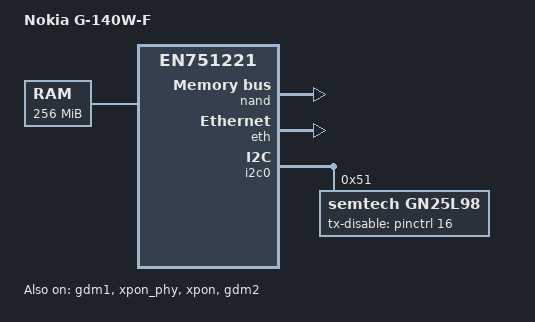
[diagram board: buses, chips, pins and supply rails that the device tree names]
// SPDX-License-Identifier: (GPL-2.0-only OR BSD-2-Clause)
/dts-v1/;

#include "en751221.dtsi"

/ {
	model = "Nokia G-140W-F";
	compatible = "nokia,g140w-f", "econet,en751221";

	memory@0 {
		device_type = "memory";
		reg = <0x00000000 0x10000000>;	/* 256 MiB */
	};

	chosen {
		stdout-path = "/serial@1fbf0000:115200";
		bootargs = "console=ttyS0,115200 loglevel=7";
		linux,usable-memory-range = <0x00020000 0x0ffe0000>;
	};
};

/*
 * dtsi tags this controller airoha,en7523-spi (en7523_spi_data has_nfi=true),
 * so the driver tries to map a non-existent NFI reg region and fails
 * (-EINVAL invalid resource). EN751221 has no NFI (SFC/NOR path), so use
 * the correct compatible -> en751221_spi_data (has_nfi=false).
 */
&spi_ctrl {
	compatible = "econet,en751221-spi";
	clocks = <&scuclk EN751221_CLK_SPI>;
	clock-names = "spi";
};

&nand {
	status = "okay";
	econet,bmt;
	econet,bbt-table-size = <250>;

	partitions {
		compatible = "fixed-partitions";
		#address-cells = <1>;
		#size-cells = <1>;

		partition@0 {
			label = "bootloader";
			reg = <0x0 0x40000>;
			read-only;
		};

		partition@40000 {
			label = "romfile";
			reg = <0x40000 0x40000>;
		};

		partition@80000 {
			label = "tclinux";
			reg = <0x80000 0x2200000>;
			econet,enable-remap;
		};

		partition@480000 {
			label = "rootfs";
			reg = <0x480000 0x1e00000>;
			linux,rootfs;
		};

		partition@2280000 {
			label = "kernel_slave";
			reg = <0x2280000 0x300000>;
		};

		partition@2580000 {
			label = "rootfs_slave";
			reg = <0x2580000 0x1f00000>;
		};

		partition@4480000 {
			label = "kernel_oflt";
			reg = <0x4480000 0x300000>;
		};

		partition@4780000 {
			label = "rootfs_oflt";
			reg = <0x4780000 0xc00000>;
		};

		partition@5380000 {
			label = "config";
			reg = <0x5380000 0x800000>;
		};

		partition@5b80000 {
			label = "log";
			reg = <0x5b80000 0xc00000>;
		};

		partition@6780000 {
			label = "extfs";
			reg = <0x6780000 0x600000>;
		};

		/*
		 * 256 KiB optical/laser calibration for the JiuZhou/GN25L98
		 * BOSA. The airoha en7570 driver reads its factory cal as 100
		 * big-endian 32-bit words; the exact offset within this
		 * partition must be confirmed from a live dump before wiring
		 * the nvmem cell (see en7526gt: magic at cell offset 0x94).
		 */
		partition@6d80000 {
			label = "bosa";
			reg = <0x6d80000 0x40000>;
		};

		partition@6dc0000 {
			label = "flag";
			reg = <0x6dc0000 0x40000>;
		};

		partition@6e00000 {
			label = "flagback";
			reg = <0x6e00000 0x40000>;
		};

		partition@6e40000 {
			label = "ri";
			reg = <0x6e40000 0x40000>;

			nvmem-layout {
				compatible = "fixed-layout";
				#address-cells = <1>;
				#size-cells = <1>;

				macaddr_ri_3e: macaddr@3e {
					compatible = "mac-base";
					reg = <0x3e 0x6>;
					#nvmem-cell-cells = <1>;
				};
			};
		};

		partition@6e80000 {
			label = "riback";
			reg = <0x6e80000 0x40000>;
		};
	};
};

&eth {
	status = "okay";
};

&gdm1 {
	status = "okay";
	mac-address = [78 17 35 c2 80 30];
};

&i2c0 {
	status = "okay";

	/*
	 * G-140W-F BOSA = Semtech GN25L98 (external-MCU mode, only the A2 page
	 * at 0x51 is exposed). Driver loads semtech/gn25l98-hwconfig.bin.
	 */
	gn25l98: optical-frontend@51 {
		compatible = "semtech,gn25l98";
		reg = <0x51>;

		tx-disable-gpios = <&pinctrl 16 GPIO_ACTIVE_HIGH>;

		#optical-frontend-cells = <0>;
	};
};

&xpon_phy {
	status = "okay";

	/*
	 * The G-140W-F JiuZhou/Semtech GN25L98 BOSA drives RX signal-detect
	 * INVERTED (proven on the econet port: rx_sd_inv=1 was the CDR-lock
	 * breakthrough). Set XPON_SETTING bit6 via this property.
	 */
	airoha,rx-sd-inverted;
};

&xpon {
	status = "okay";

	gpon-serial-number = "ALCLFBCA775E";
	omci-vendor-id = "ALCL";
	gpon-password = "00000001";
	omci-uni-count = /bits/ 8 <4>;

	optical-frontends = <&gn25l98>;
	optical-frontend-names = "pon";
};

&gdm2 {
	status = "okay";
	phy-mode = "internal";
	airoha,xpon-managed;
	openwrt,netdev-name = "pon0";
	mac-address = [78 17 35 c2 80 31];
};

/* LAN switch disabled for the GPON bring-up test (MDIO probe suspected hang). */
&switch0 { status = "disabled"; };
&switch1 { status = "disabled"; };

&pcie0 {
	status = "disabled";
};


